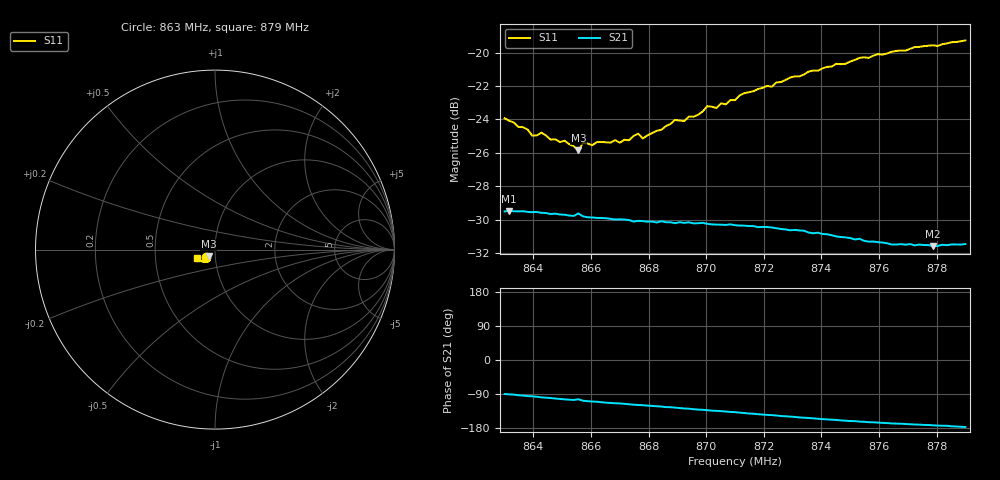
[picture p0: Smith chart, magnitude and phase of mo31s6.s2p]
# HZ S RI R 50
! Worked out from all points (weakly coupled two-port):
!   101 points, 863 MHz to 879 MHz, reference 50 ohm
!   highest |S21| = -29.48 dB at 863.16 MHz (marker M1); lowest = -31.6 dB at 877.88 MHz (marker M2)
!   lowest |S11| = -25.9 dB at 865.56 MHz (marker M3), VSWR 1.11, Z = 46.4 - j3.39 ohm
!   |S11| at or under -10 dB: start of sweep to end of sweep
!   S12 and S22 are empty: the file has one direction only
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8.63e8  -0.0503 -0.0389  0.000112 -0.0335  0 0  0 0
8.6316e8  -0.0492 -0.0385  -0.000413 -0.0336  0 0  0 0
8.6396e8  -0.0417 -0.038  -0.00336 -0.0331  0 0  0 0
8.6428e8  -0.0419 -0.0395  -0.00498 -0.0328  0 0  0 0
8.6508e8  -0.0378 -0.0392  -0.00784 -0.0317  0 0  0 0
8.6556e8  -0.0356 -0.0364  -0.00776 -0.0321  0 0  0 0
8.6572e8  -0.0335 -0.0418  -0.0097 -0.0309  0 0  0 0
8.67e8  -0.03 -0.0446  -0.0132 -0.0288  0 0  0 0
8.6764e8  -0.0301 -0.0486  -0.015 -0.0275  0 0  0 0
8.678e8  -0.0286 -0.0473  -0.0153 -0.0273  0 0  0 0
8.6844e8  -0.0293 -0.0509  -0.017 -0.0263  0 0  0 0
8.6892e8  -0.03 -0.0553  -0.018 -0.0251  0 0  0 0
8.6924e8  -0.029 -0.0553  -0.019 -0.0244  0 0  0 0
8.6972e8  -0.03 -0.0578  -0.0202 -0.0233  0 0  0 0
8.7004e8  -0.033 -0.0607  -0.0207 -0.0227  0 0  0 0
8.7036e8  -0.0321 -0.0602  -0.0213 -0.0219  0 0  0 0
8.71e8  -0.0358 -0.0625  -0.0224 -0.0205  0 0  0 0
8.7132e8  -0.0377 -0.0655  -0.0232 -0.0195  0 0  0 0
8.7372e8  -0.0541 -0.0698  -0.0259 -0.0126  0 0  0 0
8.7644e8  -0.078 -0.0634  -0.026 -0.00579  0 0  0 0
8.7788e8  -0.0905 -0.0536  -0.0261 -0.00347  0 0  0 0
8.79e8  -0.0989 -0.0451  -0.0267 -0.00144  0 0  0 0
